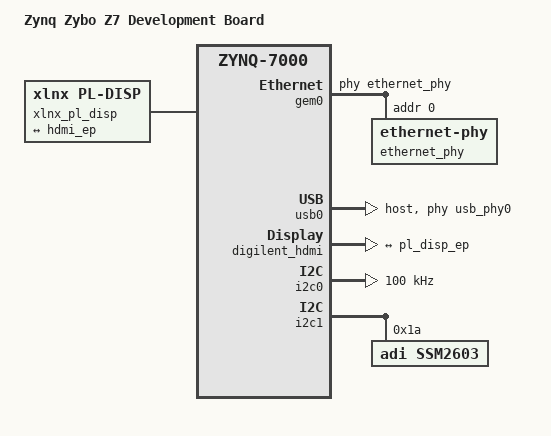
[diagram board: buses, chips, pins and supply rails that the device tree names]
/include/ "system-conf.dtsi"
#include <dt-bindings/gpio/gpio.h>
#include <dt-bindings/media/xilinx-vip.h>

/ {
	model = "Zynq Zybo Z7 Development Board";
	compatible = "digilent,zynq-zyboz7", "xlnx,zynq-7000";

	chosen {
		bootargs = "console=ttyPS0,115200 earlyprintk uio_pdrv_genirq.of_id=generic-uio";
	};

	usb_phy0: usb_phy@0 {
		compatible = "ulpi-phy";
		#phy-cells = <0>;
		reg = <0xe0002000 0x1000>;
		view-port = <0x0170>;
		drv-vbus;
	};

    // https://xilinx-wiki.atlassian.net/wiki/spaces/A/pages/18841683/Linux+Reserved+Memory
	// In UG585, page 112, table 4-1, there is a system level address map.  If you are using
	//    the US\+ Zynq, then you can find it in UG1085, page 188, table 10-1.
	// before no-map
	// root@Petalinux-2022:~# cat /proc/iomem
	// 00000000-3fffffff : System RAM
	//   00008000-00afffff : Kernel code
	//   00c00000-014aef73 : Kernel data
	// reserved: buffer@0x38000000 is above the current linux claim

	reserved-memory {
		#address-cells = <1>;
		#size-cells = <1>;
		ranges;

		// reserved for fpga register map
		reserved_regs: reserved_regs@0 {
			no-map;
			// 0x08000000 (134,217,728) bytes of 1G ddr memory for fpga register mapping
			// placed at top of ddr map
			// map region 0010_0000 to 3FFF_FFFF - DDR Accessible to all interconnect masters
			reg = <0x38000000 0x08000000>;
		};

		// reserved for dma buffer
		reserved_dma: reserved_dma@0 {
			no-map;
			// 0x10000000 (268,435,456) bytes of 1G ddr memory for dma register mapping
			// placed just before reserved_regs map
			// map region 0010_0000 to 3FFF_FFFF - DDR Accessible to all interconnect masters
			reg = <0x28000000 0x10000000>;
		};
	};

	// register space
	uio-reserved-regs@0x38000000 {
		compatible = "generic-uio";
		//memory-region = <&reserved_regs>;
		reg = <0x38000000 0x08000000>;
        // can i devmem an assigned interrupt ?
		// intc has num_interrupts = <0x60>; is 96 base 10
		// irq# 0-15 are sw generated interrupts
		// pl possible interrupts for 7000 are: 63:61, 68:64, 91:84 (see trm)
		interrupt-parent = <&intc>;
		// 1 = L->H edge, 2 = H->L edge, 4 = H level, 8 = L level
		// interrupts = <0 89 1>;
		interrupts = <0 0 1>;
	};

	// dma
	uio-reserved-dma@0x38000000 {
		// compatible = "xlnx,reserved-memory";
		compatible = "generic-uio";
		//memory-region = <&reserved_dma>;
		reg = <0x28000000 0x10000000>;
	};

	// The SGI interrupts are always edge sensitive and are generated when software writes the interrupt
	// number to ICDSGIR register. All of the targeted CPUs defined in the ICDIPTR [23:8] must handle the
	// interrupt in order to clear it.

	// // ICDICFR0 0xF8F01C00 - ro, sgi sensitivity
	// devmem 0xF8F01C00

	// // ICDIPTR0 0xF8F01800 - ro, enable cpu(s) for int ids 0:3, always 01 cpu0
	// devmem 0xF8F01800
	// devmem 0xF8F01800 32 0x3
	// devmem 0xF8F01800

	// // ICDSGIR 0xF8F01F00 - to generate swi
	// devmem 0xF8F01F00
    // devmem 0xF8F01F00 32 0x03000000
	// devmem 0xF8F01F00 32 0x03000001
    // devmem 0xF8F01F00 32 0x01000000
	// devmem 0xF8F01F00 32 0x01000001

	// fpga regs
	// reg space must be 0x10000 minimum
	fpga_registers: fpga_registers@0x38000000 {
		compatible ="generic-uio";
		reg = <0x38000000 0x08000000>;
        // can i devmem an assigned interrupt ?
		// intc has num_interrupts = <0x60>; is 96 base 10
		// irq# 0-15 are sw generated interrupts
		// pl possible interrupts for 7000 are: 63:61, 68:64, 91:84 (see trm)
		interrupt-parent = <&intc>;
		// 1 = L->H edge, 2 = H->L edge, 4 = H level, 8 = L level
		// interrupts = <0 89 1>;
		interrupts = <0 0 1>;
	};

    // btn_4 {
    //     compatible ="generic-uio";
    //     interrupt-parent = <&gpio0>;
    //     // interrupt-parent = <&intc>; // use intc for PL emio interrupt
    //     // bit fields 0 = L->H edge, 1 = H->L edge, 2 = H level, 3 = L level
    //     // interrupts = <0 50 1>;
    //     // mio 50, rising edge
    //     // interrupts = <50 1>; // did not appear in /proc/interrupt with intc

    //     // test with offset interrupt number mio# + 32, rising edge
    //     interrupts = <82 1>;
    // };

    // btn_5 {
    //     compatible ="generic-uio";
    //     interrupt-parent = <&gpio0>;
    //     // bit fields 0 = L->H edge, 1 = H->L edge, 2 = H level, 3 = L level
    //     // mio 50, rising edge
    //     interrupts = <51 1>;
    // };
};

&gem0 {
        phy-handle = <&ethernet_phy>;
        ethernet_phy: ethernet-phy@0 {
                device_type = "ethernet-phy";
                reg = <0>;
                /* dt-bindings/phy/realtek.h */
                /* #define REALTEK_LED_LINK10              BIT(0)
                   #define REALTEK_LED_LINK100             BIT(1)
                   #define REALTEK_LED_LINK1000            BIT(3)
                   #define REALTEK_LED_ACT                 BIT(4)
                   #define REALTEK_LED_DEFAULT             BIT(7)
                */
                /* LED0=10+A, LED1=100+A, LED2=1000+A */
                realtek,leds-config = <0x11 0x12 0x18>;
        };
};

&usb0 {
	dr_mode = "host";
	usb-phy = <&usb_phy0>;
};

&flash0 {
        compatible = "jedec,spi-nor";
        reg = <0x0>;
        spi-tx-bus-width = <1>;
        spi-rx-bus-width = <4>;
        spi-max-frequency = <100000000>;
};

&amba_pl {
	digilent_hdmi {
		compatible = "digilent,hdmi";

		clocks = <&axi_dynclk_0>;
		clock-names = "clk";

		digilent,edid-i2c = <&i2c0>;
		digilent,fmax = <150000>;

		port@0 {
			hdmi_ep: endpoint {
				remote-endpoint = <&pl_disp_ep>;
			};
		};
	};

	xlnx_pl_disp {
		compatible = "xlnx,pl-disp";

		dmas = <&axi_vdma_1 0>;
		dma-names = "dma0";

		/*
		 * See Documentation/devicetree/bindings/dma/xilinx/xilinx_frmbuf.txt
		 * to find the equivalent DRM fourcc code for the format selected in
		 * the Frame Buffer Reader, then see See include/uapi/drm/drm_fourcc.h
		 * to find the corresponding 4-char string that should be placed here.
		 */
		xlnx,vformat = "XR24";
		xlnx,bridge = <&v_tc_out>;

		port@0 {
			pl_disp_ep: endpoint {
				remote-endpoint = <&hdmi_ep>;
			};
		};
	};
};

&v_tc_out {
	compatible = "xlnx,bridge-v-tc-6.1";
	xlnx,pixels-per-clock = <1>;
};

&axi_dynclk_0 {
	compatible = "dglnt,axi-dynclk";
	#clock-cells = <0>;
	clocks = <&clkc 15>;
};

&axi_vdma_1 {
	dma-ranges = <0x00000000 0x00000000 0x40000000>;
};

&v_tc_in {
	compatible = "generic-uio";
};

&axi_vdma_0 {
	compatible = "generic-uio";
};

&axi_gpio_video {
	compatible = "generic-uio";
};

&pwm_rgb {
	compatible = "generic-uio";
};

&amba_pl {
	i2s_clk: i2s_clk {
		#clock-cells = <0>;
		compatible = "fixed-clock";
		clock-frequency = <12000000>;
		clock-output-names = "i2s_clk";
	};

	sound {
		compatible = "simple-audio-card";
		simple-audio-card,name = "Zybo-Z7-Sound-Card";
		simple-audio-card,format = "i2s";
		simple-audio-card,bitclock-master = <&dailink0_master>;
		simple-audio-card,frame-master = <&dailink0_master>;

		simple-audio-card,widgets =
			"Microphone", "Microphone Jack",
			"Headphone", "Headphone Jack",
			"Line", "Line In Jack";

		simple-audio-card,routing =
			"MICIN", "Microphone Jack",
			"Headphone Jack", "LHPOUT",
			"Headphone Jack", "RHPOUT",
			"LLINEIN", "Line In Jack",
			"RLINEIN", "Line In Jack";

		dailink0_master: simple-audio-card,cpu {
			clocks = <&i2s_clk>;
			sound-dai = <&axi_i2s_adi_1>;
		};

		simple-audio-card,codec {
			clocks = <&i2s_clk>;
			sound-dai = <&ssm2603>;
		};
	};
};

&axi_i2s_adi_1 {
	#sound-dai-cells = <0>;
	compatible = "adi,axi-i2s-1.00.a";
	clocks = <&clkc 15>, <&i2s_clk>;
	clock-names = "axi", "ref";
	dmas = <&dmac_s 0 &dmac_s 1>;
	dma-names = "tx", "rx";
};

&i2c0 {
	clock-frequency = <100000>;
	status = "okay";
};

&i2c1 {
	ssm2603: ssm2603@1a{
		#sound-dai-cells = <0>;
		compatible = "adi,ssm2603";
		reg = <0x1a>;
	};
};

&axi_gpio_led {
	compatible = "generic-uio";
};


&axi_gpio_sw_btn {
	compatible = "generic-uio";
};

&axi_gpio_eth {
	clock-names = "s_axi_aclk";
	clocks = <&clkc 15>;
};
